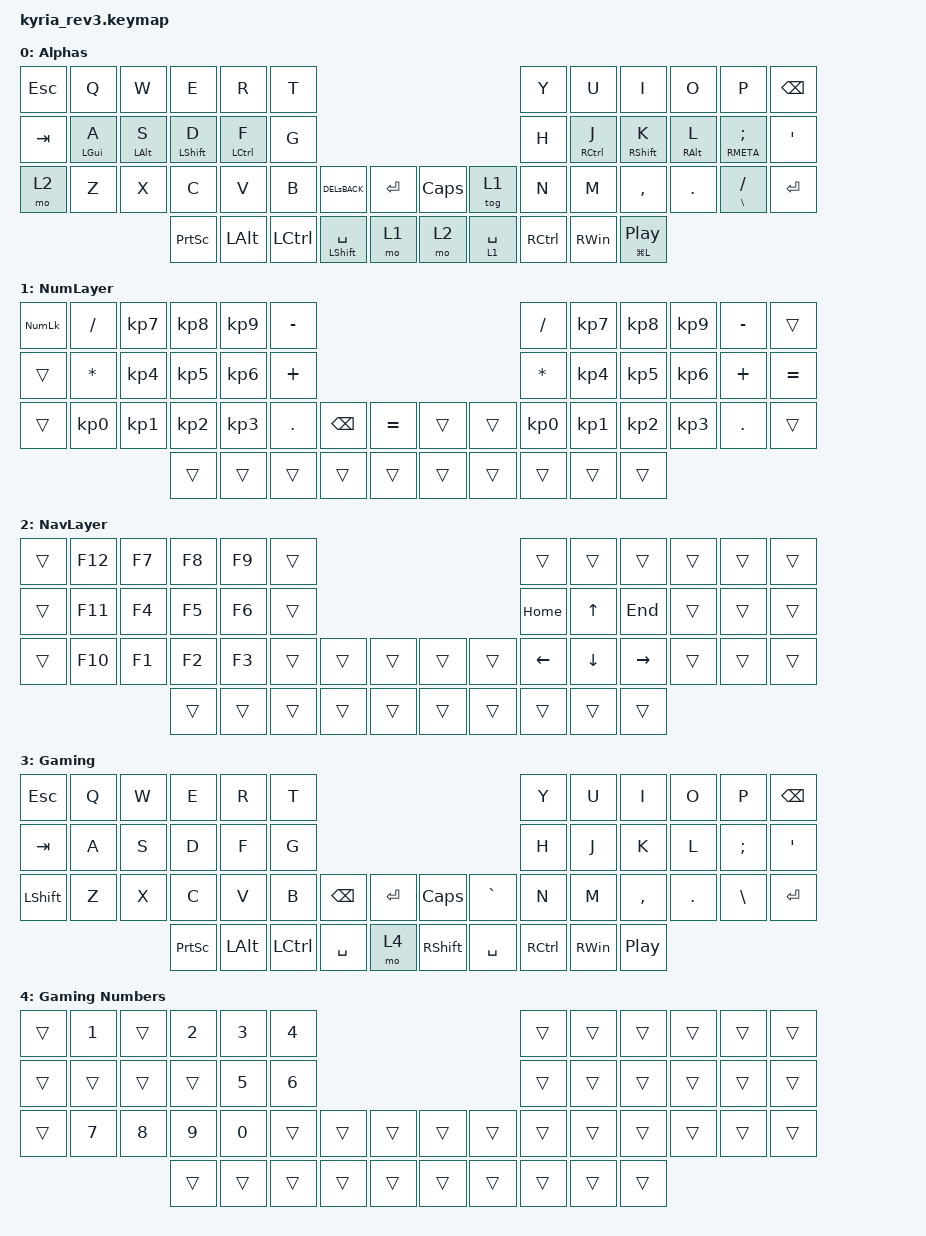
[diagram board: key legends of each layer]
/*
 * Copyright (c) 2023 The ZMK Contributors
 *
 * SPDX-License-Identifier: MIT
 */

#include <behaviors.dtsi>
#include <dt-bindings/zmk/bt.h>
#include <dt-bindings/zmk/keys.h>
// #include <dt-bindings/zmk/rgb.h>

// &led_strip { chain-length = <25>; };

&mt {
    tapping-term-ms = <300>; // value already set by default is 200
    quick-tap-ms = <200>;
    flavor = "balanced";
};

/ {
    combos {
        compatible = "zmk,combos";

        GameToggle {
            bindings = <&tog 3>;
            key-positions = <0 11>;
            require-prior-idle-ms = <250>;
            layers = <0 3>;
        };

        Lock {
            bindings = <&kp LG(L)>;
            key-positions = <40 49>;
            require-prior-idle-ms = <250>;
            layers = <0 1 2>;
        };

        BT0 {
            bindings = <&bt BT_SEL 0>;
            key-positions = <30 43>;
            require-prior-idle-ms = <250>;
            layers = <0 1 2>;
        };

        BT1 {
            bindings = <&bt BT_SEL 1>;
            key-positions = <31 44>;
            require-prior-idle-ms = <250>;
            layers = <0 1 2>;
        };

        BT2 {
            bindings = <&bt BT_CLR>;
            key-positions = <32 45>;
            require-prior-idle-ms = <250>;
            layers = <0 1 2>;
        };

        BTClear {
            bindings = <&bt BT_CLR_ALL>;
            key-positions = <33 46>;
            require-prior-idle-ms = <250>;
            layers = <0 1 2>;
        };

        ParenthesisCOMBO {
            bindings = <&ParenthesisC>;
            key-positions = <7 9>;
            require-prior-idle-ms = <250>;
            layers = <0 1 2>;
        };

        BracketCOMBO {
            bindings = <&BracketC>;
            key-positions = <21 19>;
            require-prior-idle-ms = <250>;
            layers = <0 1 2>;
        };

        CurlyCOMBO {
            bindings = <&CurlyC>;
            key-positions = <37 35>;
            require-prior-idle-ms = <250>;
            layers = <0 1 2>;
        };

        AngleCOMBO {
            bindings = <&AngleC>;
            key-positions = <36 37>;
            require-prior-idle-ms = <250>;
            layers = <0 1 2>;
        };

        LParen {
            bindings = <&kp LEFT_PARENTHESIS>;
            key-positions = <7 8>;
            require-prior-idle-ms = <250>;
            layers = <0 1 2>;
        };

        RParen {
            bindings = <&kp RIGHT_PARENTHESIS>;
            key-positions = <8 9>;
            require-prior-idle-ms = <250>;
            layers = <0 1 2>;
        };

        LBracket {
            bindings = <&kp LEFT_BRACKET>;
            key-positions = <20 19>;
            require-prior-idle-ms = <250>;
            layers = <0 1 2>;
        };

        RBracket {
            bindings = <&kp RIGHT_BRACKET>;
            key-positions = <20 21>;
            require-prior-idle-ms = <250>;
            layers = <0 1 2>;
        };

        LCurly {
            bindings = <&kp LEFT_BRACE>;
            key-positions = <36 35>;
            require-prior-idle-ms = <250>;
            layers = <0 1 2>;
        };

        RCurly {
            bindings = <&kp RIGHT_BRACE>;
            key-positions = <36 37>;
            require-prior-idle-ms = <250>;
            layers = <0 1 2>;
        };

        Grave {
            bindings = <&kp GRAVE>;
            key-positions = <0 12>;
            require-prior-idle-ms = <250>;
            layers = <0 1 2>;
        };

        Exc {
            bindings = <&kp EXCLAMATION>;
            key-positions = <1 13>;
            require-prior-idle-ms = <250>;
            layers = <0 1 2>;
        };

        At {
            bindings = <&kp AT_SIGN>;
            key-positions = <2 14>;
            require-prior-idle-ms = <250>;
            layers = <0 1 2>;
        };

        Hash {
            bindings = <&kp HASH>;
            key-positions = <15 3>;
            require-prior-idle-ms = <250>;
            layers = <0 1 2>;
        };

        Dollar {
            bindings = <&kp DOLLAR>;
            key-positions = <4 16>;
            require-prior-idle-ms = <250>;
            layers = <0 1 2>;
        };

        Percent {
            bindings = <&kp PERCENT>;
            key-positions = <5 17>;
            require-prior-idle-ms = <250>;
            layers = <0 1 2>;
        };

        Caret {
            bindings = <&kp CARET>;
            key-positions = <6 18>;
            require-prior-idle-ms = <250>;
            layers = <0 1 2>;
        };

        Ampersand {
            bindings = <&kp AMPERSAND>;
            key-positions = <7 19>;
            require-prior-idle-ms = <250>;
            layers = <0 1 2>;
        };

        Asterisk {
            bindings = <&kp ASTERISK>;
            key-positions = <20 8>;
            require-prior-idle-ms = <250>;
            layers = <0 1 2>;
        };

        HomeShiftEndCombo {
            bindings = <&HomeShiftEnd>;
            key-positions = <18 20>;
            require-prior-idle-ms = <250>;
            layers = <0 1 2>;
        };

        PasteClip {
            bindings = <&kp LG(V)>;
            key-positions = <28 16>;
            require-prior-idle-ms = <250>;
            layers = <0 1 2>;
        };

        Undo {
            bindings = <&kp LC(Z)>;
            key-positions = <25 26>;
            require-prior-idle-ms = <250>;
            layers = <0 1 2>;
        };

        Cut {
            bindings = <&kp LC(X)>;
            key-positions = <26 27>;
            require-prior-idle-ms = <250>;
            layers = <0 1 2>;
        };

        Copy {
            bindings = <&kp LC(C)>;
            key-positions = <27 28>;
            require-prior-idle-ms = <250>;
            layers = <0 1 2>;
        };

        Paste {
            bindings = <&kp LC(V)>;
            key-positions = <28 29>;
            require-prior-idle-ms = <250>;
            layers = <0 1 2>;
        };

        AsteriskSurroundCOMBO {
            bindings = <&AsteriskSurround>;
            key-positions = <19 18>;
            require-prior-idle-ms = <250>;
            layers = <0 1 2>;
        };

        LBootLoader {
            bindings = <&bootloader>;
            key-positions = <41 42 43>;
            require-prior-idle-ms = <250>;
            layers = <0 1 2>;
        };

        RBootLoader {
            bindings = <&bootloader>;
            key-positions = <47 46 48>;
            require-prior-idle-ms = <250>;
            layers = <0 1 2>;
        };

        Underscore {
            bindings = <&kp UNDER>;
            key-positions = <9 21>;
            require-prior-idle-ms = <250>;
            layers = <0 1 2>;
        };

        Minus {
            bindings = <&kp MINUS>;
            key-positions = <10 22>;
            require-prior-idle-ms = <250>;
            layers = <0 1 2>;
        };

        cBackspace {
            bindings = <&kp RC(BACKSPACE)>;
            key-positions = <11 23>;
            require-prior-idle-ms = <250>;
            layers = <0 1 2>;
        };
    };

    macros {
        ParenthesisC: Parentheses {
            compatible = "zmk,behavior-macro";
            #binding-cells = <0>;
            bindings = <&kp LEFT_PARENTHESIS &kp RIGHT_PARENTHESIS &kp LEFT>;
            label = "PARENTHESES";
        };

        BracketC: BracketC {
            compatible = "zmk,behavior-macro";
            #binding-cells = <0>;
            bindings = <&kp LEFT_BRACKET &kp RIGHT_BRACKET &kp LEFT>;
            label = "BRACKETC";
        };

        CurlyC: CurlyC {
            compatible = "zmk,behavior-macro";
            #binding-cells = <0>;
            bindings = <&kp LS(LEFT_BRACKET) &kp LS(RIGHT_BRACKET) &kp LEFT>;
            label = "CURLYC";
        };

        AngleC: AngleC {
            compatible = "zmk,behavior-macro";
            #binding-cells = <0>;
            bindings = <&kp LS(COMMA) &kp LS(PERIOD) &kp LEFT>;
            label = "ANGLEC";
        };

        HomeShiftEnd: HomeShiftEnd {
            compatible = "zmk,behavior-macro";
            #binding-cells = <0>;
            bindings = <&kp HOME &kp LS(END)>;
            label = "HOMESHIFTEND";
        };

        AsteriskSurround: AsteriskSurround {
            compatible = "zmk,behavior-macro";
            #binding-cells = <0>;
            bindings = <&kp HOME &kp ASTERISK &kp END &kp ASTRK>;
            label = "ASTERISKSURROUND";
        };
    };

    behaviors {
        LockScreen: LockScreen {
            compatible = "zmk,behavior-hold-tap";
            label = "LOCKSCREEN";
            bindings = <&kp>, <&kp>;

            #binding-cells = <2>;
            tapping-term-ms = <800>;
            flavor = "tap-preferred";
        };

        DELsBACK: DELsBACK {
            compatible = "zmk,behavior-mod-morph";
            label = "DELSBACK";
            bindings = <&kp DELETE>, <&kp BACKSPACE>;

            #binding-cells = <0>;
            mods = <(MOD_LSFT)>;
        };
    };

    keymap {
        compatible = "zmk,keymap";

        Alphas {
            bindings = <
&kp ESC  &kp Q       &kp W       &kp E             &kp R               &kp T                                                                     &kp Y              &kp U                &kp I                           &kp O            &kp P                &kp BACKSPACE
&kp TAB  &mt LGUI A  &mt LALT S  &mt LEFT_SHIFT D  &mt LEFT_CONTROL F  &kp G                                                                     &kp H              &mt RIGHT_CONTROL J  &mt RSHIFT K                    &mt RIGHT_ALT L  &mt RMETA SEMICOLON  &kp SQT
&mo 2    &kp Z       &kp X       &kp C             &kp V               &kp B             &DELsBACK             &kp ENTER  &kp CAPS  &tog 1       &kp N              &kp M                &kp COMMA                       &kp DOT          &mt BACKSLASH SLASH  &kp ENTER
                                 &kp PRINTSCREEN   &kp LEFT_ALT        &kp LEFT_CONTROL  &mt LEFT_SHIFT SPACE  &mo 1      &mo 2     &lt 1 SPACE  &kp RIGHT_CONTROL  &kp RWIN             &LockScreen LG(L) C_PLAY_PAUSE
            >;
        };

        NumLayer {
            bindings = <
&kp KP_NUMLOCK  &kp SLASH        &kp KP_NUMBER_7  &kp KP_NUMBER_8  &kp KP_NUMBER_9  &kp MINUS                                             &kp SLASH        &kp KP_NUMBER_7  &kp KP_NUMBER_8  &kp KP_NUMBER_9  &kp MINUS   &trans
&trans          &kp ASTERISK     &kp KP_NUMBER_4  &kp KP_NUMBER_5  &kp KP_NUMBER_6  &kp PLUS                                              &kp ASTERISK     &kp KP_NUMBER_4  &kp KP_NUMBER_5  &kp KP_NUMBER_6  &kp PLUS    &kp EQUAL
&trans          &kp KP_NUMBER_0  &kp KP_NUMBER_1  &kp KP_NUMBER_2  &kp KP_NUMBER_3  &kp PERIOD  &kp BACKSPACE  &kp EQUAL  &trans  &trans  &kp KP_NUMBER_0  &kp KP_NUMBER_1  &kp KP_NUMBER_2  &kp KP_NUMBER_3  &kp PERIOD  &trans
                                                  &trans           &trans           &trans      &trans         &trans     &trans  &trans  &trans           &trans           &trans
            >;
        };

        NavLayer {
            bindings = <
&trans  &kp F12  &kp F7  &kp F8  &kp F9  &trans                                  &trans    &trans        &trans     &trans  &trans  &trans
&trans           &kp F11  &kp F4  &kp F5  &kp F6  &trans                                  &kp HOME  &kp UP_ARROW  &kp END    &trans  &trans  &trans
&trans  &kp F10  &kp F1  &kp F2  &kp F3  &trans  &trans  &trans  &trans  &trans  &kp LEFT  &kp DOWN      &kp RIGHT  &trans  &trans  &trans
                                  &trans  &trans  &trans  &trans  &trans  &trans  &trans  &trans    &trans        &trans
            >;
        };

        Gaming {
            display-name = "Gaming";
            bindings = <
&kp ESC         &kp Q         &kp W            &kp E      &kp R              &kp T                                                     &kp Y           &kp U      &kp I              &kp O        &kp P          &kp BACKSPACE
&kp TAB         &kp A         &kp S            &kp D      &kp F              &kp G                                                     &kp H           &kp J      &kp K              &kp L        &kp SEMICOLON  &kp SQT
&kp LEFT_SHIFT  &kp Z         &kp X            &kp C      &kp V              &kp B      &kp BACKSPACE  &kp ENTER  &kp CAPS  &kp GRAVE  &kp N           &kp M      &kp COMMA          &kp DOT      &kp BACKSLASH  &kp ENTER
                              &kp PRINTSCREEN  &kp LEFT_ALT  &kp LEFT_CONTROL  &kp SPACE  &mo 4          &kp RIGHT_SHIFT  &kp SPACE  &kp RIGHT_CONTROL  &kp RWIN  &kp C_PLAY_PAUSE
            >;
        };

        GamingNumbers {
            display-name = "Gaming Numbers";
            bindings = <
&trans  &kp N1  &trans  &kp N2  &kp N3  &kp N4                                  &trans  &trans  &trans  &trans  &trans  &trans
&trans  &trans  &trans  &trans  &kp N5  &kp N6                                  &trans  &trans  &trans  &trans  &trans  &trans
&trans  &kp N7  &kp N8  &kp N9  &kp N0  &trans  &trans  &trans  &trans  &trans  &trans  &trans  &trans  &trans  &trans  &trans
                                &trans   &trans   &trans   &trans  &trans  &trans  &trans  &trans  &trans  &trans
            >;
        };
    };
};
